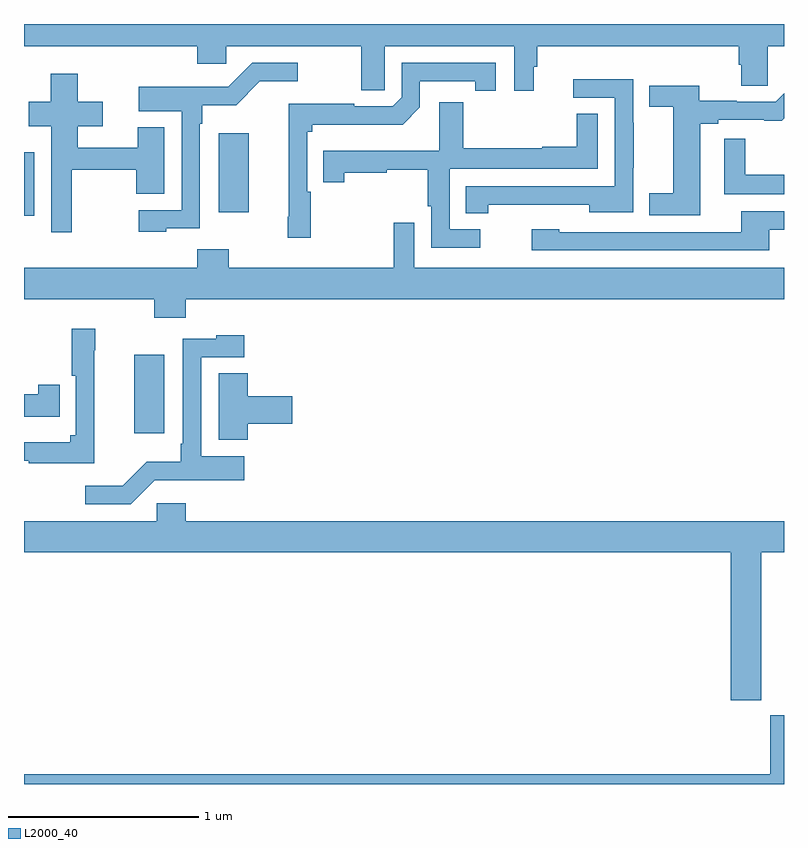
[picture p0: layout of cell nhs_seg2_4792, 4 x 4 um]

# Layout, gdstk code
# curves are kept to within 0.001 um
import gdstk
lib = gdstk.Library(unit=1e-6, precision=1e-09)
def R(c, l, rs):  # rectangles x0, y0, x1, y1
    for r in rs: c.add(gdstk.rectangle(r[:2], r[2:], *l))
def P(c, l, *ps):  # polygons
    for p in ps: c.add(gdstk.Polygon(p, *l))
L2000_40 = (2000, 40)

nhs_seg2_4792 = lib.new_cell('nhs_seg2_4792')
R(nhs_seg2_4792, L2000_40, [(373.58,597.645,373.738,598.06), (373,598.79,373.053,599.125), (374.024,598.809,374.182,599.224)])
P(nhs_seg2_4792, L2000_40, [(375.682,599.574),(375.7,599.574),(375.7,599.684),(376.763,599.684),(376.763,599.586),(376.775,599.586),(376.775,599.476),(376.914,599.476),(376.914,599.684),(377,599.684),(377,599.8),(373,599.8),(373,599.684),(373.913,599.684),(373.913,599.591),(374.064,599.591),(374.064,599.684),(374.776,599.684),(374.776,599.452),(374.898,599.452),(374.898,599.684),(375.581,599.684),(375.581,599.448),(375.682,599.448)],
  [(374.51,598.918),(374.49,598.918),(374.49,599.232),(374.518,599.232),(374.518,599.27),(374.993,599.27),(375.084,599.361),(375.084,599.499),(375.374,599.499),(375.374,599.448),(375.484,599.448),(375.484,599.595),(374.988,599.595),(374.988,599.415),(374.94,599.367),(374.737,599.367),(374.737,599.38),(374.393,599.38),(374.393,598.786),(374.387,598.786),(374.387,598.674),(374.51,598.674)],
  [(373.749,598.725),(373.926,598.725),(373.926,599.276),(373.939,599.276),(373.939,599.372),(374.116,599.372),(374.242,599.498),(374.44,599.498),(374.44,599.595),(374.201,599.595),(374.075,599.469),(373.605,599.47),(373.605,599.342),(373.83,599.342),(373.83,598.821),(373.605,598.821),(373.605,598.706),(373.749,598.706)],
  [(373.252,599.032),(373.591,599.032),(373.591,598.906),(373.738,598.906),(373.738,599.257),(373.598,599.257),(373.598,599.148),(373.284,599.148),(373.284,599.261),(373.414,599.261),(373.414,599.391),(373.284,599.391),(373.284,599.539),(373.142,599.539),(373.142,599.391),(373.025,599.391),(373.025,599.261),(373.143,599.261),(373.143,598.704),(373.252,598.704)],
  [(375.444,598.85),(375.974,598.85),(375.974,598.808),(376.206,598.808),(376.206,599.044),(376.208,599.044),(376.208,599.279),(376.206,599.279),(376.206,599.509),(375.891,599.509),(375.891,599.412),(376.11,599.412),(376.11,598.947),(375.325,598.947),(375.325,598.804),(375.444,598.804)],
  [(376.558,599.275),(376.654,599.275),(376.654,599.295),(376.895,599.295),(376.895,599.29),(376.987,599.29),(377,599.303),(377,599.435),(376.956,599.391),(376.752,599.391),(376.752,599.396),(376.555,599.396),(376.555,599.476),(376.291,599.476),(376.291,599.365),(376.418,599.365),(376.418,598.908),(376.291,598.908),(376.291,598.793),(376.558,598.793)],
  [(375.4,598.719),(375.24,598.719),(375.24,599.037),(376.02,599.037),(376.02,599.327),(375.908,599.327),(375.908,599.153),(375.727,599.153),(375.727,599.146),(375.313,599.146),(375.313,599.389),(375.185,599.389),(375.185,599.134),(374.575,599.134),(374.575,598.968),(374.686,598.968),(374.686,599.017),(374.91,599.017),(374.91,599.032),(375.124,599.032),(375.124,598.84),(375.144,598.84),(375.144,598.623),(375.4,598.623)],
  [(377,599.006),(376.795,599.006),(376.795,599.197),(376.686,599.197),(376.686,598.905),(377,598.905)],
  [(376.923,598.718),(377,598.718),(377,598.815),(376.775,598.815),(376.775,598.704),(375.816,598.704),(375.816,598.72),(375.672,598.72),(375.672,598.608),(376.923,598.608)],
  [(373.85,598.352),(377,598.352),(377,598.516),(375.054,598.516),(375.054,598.753),(374.946,598.753),(374.946,598.516),(374.078,598.516),(374.078,598.615),(373.913,598.615),(373.913,598.516),(373,598.516),(373,598.352),(373.685,598.352),(373.685,598.253),(373.85,598.253)],
  [(373.37,598.082),(373.376,598.082),(373.376,598.195),(373.252,598.195),(373.252,597.95),(373.272,597.95),(373.272,597.636),(373.244,597.636),(373.244,597.598),(373,597.598),(373,597.501),(373.025,597.501),(373.025,597.489),(373.37,597.489)],
  [(373.687,597.399),(374.158,597.398),(374.158,597.526),(373.932,597.526),(373.932,598.047),(374.158,598.047),(374.158,598.162),(374.013,598.162),(374.013,598.143),(373.836,598.143),(373.836,597.592),(373.824,597.592),(373.824,597.496),(373.646,597.496),(373.52,597.37),(373.323,597.37),(373.323,597.273),(373.561,597.273)],
  [(374.177,597.695),(374.413,597.695),(374.413,597.842),(374.177,597.842),(374.177,597.962),(374.024,597.962),(374.024,597.611),(374.177,597.611)],
  [(373.187,597.901),(373.076,597.901),(373.076,597.851),(373,597.851),(373,597.734),(373.187,597.734)],
  [(376.881,597.02),(377,597.02),(377,597.184),(373.85,597.184),(373.85,597.277),(373.698,597.277),(373.698,597.184),(373,597.184),(373,597.02),(376.721,597.02),(376.721,596.241),(376.881,596.241)],
  [(377,596.161),(376.928,596.161),(376.928,595.852),(373,595.852),(373,595.8),(377,595.8)])

lib.write_gds('nhs_seg2_4792.gds')
